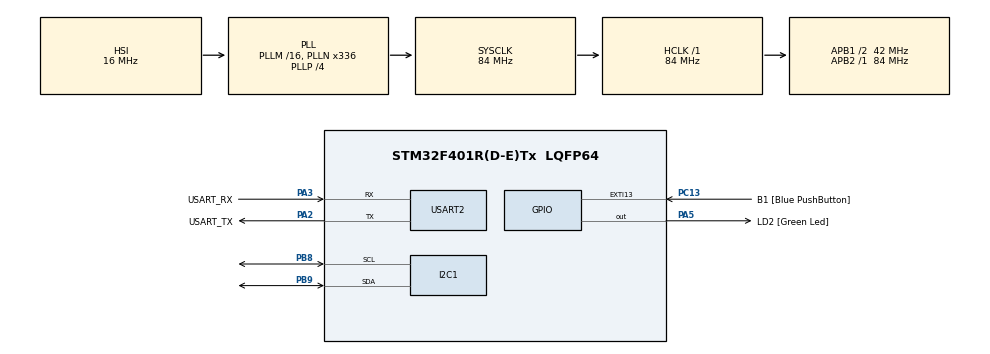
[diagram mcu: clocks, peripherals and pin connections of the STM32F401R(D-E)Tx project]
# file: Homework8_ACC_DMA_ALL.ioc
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Dma.I2C1_RX.0.Direction=DMA_PERIPH_TO_MEMORY
Dma.I2C1_RX.0.FIFOMode=DMA_FIFOMODE_DISABLE
Dma.I2C1_RX.0.Instance=DMA1_Stream0
Dma.I2C1_RX.0.MemDataAlignment=DMA_MDATAALIGN_BYTE
Dma.I2C1_RX.0.MemInc=DMA_MINC_ENABLE
Dma.I2C1_RX.0.Mode=DMA_NORMAL
Dma.I2C1_RX.0.PeriphDataAlignment=DMA_PDATAALIGN_BYTE
Dma.I2C1_RX.0.PeriphInc=DMA_PINC_DISABLE
Dma.I2C1_RX.0.Priority=DMA_PRIORITY_LOW
Dma.Request0=I2C1_RX
Dma.Request1=USART2_TX
Dma.USART2_TX.1.Direction=DMA_MEMORY_TO_PERIPH
Dma.USART2_TX.1.FIFOMode=DMA_FIFOMODE_DISABLE
Dma.USART2_TX.1.Instance=DMA1_Stream6
Dma.USART2_TX.1.MemDataAlignment=DMA_MDATAALIGN_BYTE
Dma.USART2_TX.1.MemInc=DMA_MINC_ENABLE
Dma.USART2_TX.1.Mode=DMA_NORMAL
Dma.USART2_TX.1.PeriphDataAlignment=DMA_PDATAALIGN_BYTE
Dma.USART2_TX.1.PeriphInc=DMA_PINC_DISABLE
Dma.USART2_TX.1.Priority=DMA_PRIORITY_LOW
Mcu.Family=STM32F4
Mcu.Name=STM32F401R(D-E)Tx
Mcu.Package=LQFP64
NVIC.DMA1_Stream0_IRQn=true\:0\:0\:false\:false\:true\:false\:true\:true
NVIC.DMA1_Stream6_IRQn=true\:0\:0\:false\:false\:true\:false\:true\:true
NVIC.I2C1_ER_IRQn=true\:0\:0\:false\:false\:true\:true\:true\:true
NVIC.I2C1_EV_IRQn=true\:0\:0\:false\:false\:true\:true\:true\:true
NVIC.PriorityGroup=NVIC_PRIORITYGROUP_0
NVIC.TIM2_IRQn=true\:0\:0\:true\:false\:true\:true\:true\:true
NVIC.USART2_IRQn=true\:0\:0\:false\:false\:true\:true\:true\:true
PA13.GPIO_Label=TMS
PA13.Mode=Serial_Wire
PA13.Signal=SYS_JTMS-SWDIO
PA14.GPIO_Label=TCK
PA14.Mode=Serial_Wire
PA14.Signal=SYS_JTCK-SWCLK
PA2.GPIO_Label=USART_TX
PA2.GPIO_Mode=GPIO_MODE_AF_PP
PA2.GPIO_PuPd=GPIO_NOPULL
PA2.GPIO_Speed=GPIO_SPEED_FREQ_LOW
PA2.Mode=Asynchronous
PA2.Signal=USART2_TX
PA3.GPIO_Label=USART_RX
PA3.GPIO_Mode=GPIO_MODE_AF_PP
PA3.GPIO_PuPd=GPIO_NOPULL
PA3.GPIO_Speed=GPIO_SPEED_FREQ_LOW
PA3.Mode=Asynchronous
PA3.Signal=USART2_RX
PA5.GPIO_Label=LD2 [Green Led]
PA5.GPIO_Mode=GPIO_MODE_OUTPUT_PP
PA5.GPIO_PuPd=GPIO_NOPULL
PA5.GPIO_Speed=GPIO_SPEED_FREQ_LOW
PA5.Signal=GPIO_Output
PB3.GPIO_Label=SWO
PB3.Signal=SYS_JTDO-SWO
PB8.Mode=I2C
PB8.Signal=I2C1_SCL
PB9.Mode=I2C
PB9.Signal=I2C1_SDA
PC13-ANTI_TAMP.GPIO_Label=B1 [Blue PushButton]
PC13-ANTI_TAMP.GPIO_ModeDefaultEXTI=GPIO_MODE_IT_FALLING
PC13-ANTI_TAMP.GPIO_PuPd=GPIO_NOPULL
PC13-ANTI_TAMP.Signal=GPXTI13
PC14-OSC32_IN.Mode=LSE-External-Oscillator
PC14-OSC32_IN.Signal=RCC_OSC32_IN
PC15-OSC32_OUT.Mode=LSE-External-Oscillator
PC15-OSC32_OUT.Signal=RCC_OSC32_OUT
PH0\ -\ OSC_IN.Mode=HSE-External-Clock-Source
PH0\ -\ OSC_IN.Signal=RCC_OSC_IN
PH1\ -\ OSC_OUT.Mode=HSE-External-Clock-Source
PH1\ -\ OSC_OUT.Signal=RCC_OSC_OUT
ProjectManager.HeapSize=0x200
ProjectManager.StackSize=0x400
ProjectManager.TargetToolchain=STM32CubeIDE
RCC.48MHZClocksFreq_Value=48000000
RCC.AHBFreq_Value=84000000
RCC.APB1CLKDivider=RCC_HCLK_DIV2
RCC.APB1Freq_Value=42000000
RCC.APB1TimFreq_Value=84000000
RCC.APB2Freq_Value=84000000
RCC.APB2TimFreq_Value=84000000
RCC.CortexFreq_Value=84000000
RCC.HCLKFreq_Value=84000000
RCC.HSE_VALUE=8000000
RCC.HSI_VALUE=16000000
RCC.PLLN=336
RCC.PLLP=RCC_PLLP_DIV4
RCC.PLLQ=7
RCC.SYSCLKFreq_VALUE=84000000
RCC.SYSCLKSource=RCC_SYSCLKSOURCE_PLLCLK
RCC.VCOOutputFreq_Value=336000000
TIM2.Period=10000-1
TIM2.Prescaler=8400-1
USART2.VirtualMode=VM_ASYNC
VP_TIM2_VS_ClockSourceINT.Mode=Internal
board=NUCLEO-F401RE

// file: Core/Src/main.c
/* USER CODE BEGIN Header */
/**
  ******************************************************************************
  * @file           : main.c
  * @brief          : Main program body
  ******************************************************************************
  * @attention
  *
  * Copyright (c) 2024 STMicroelectronics.
  * All rights reserved.
  *
  * This software is licensed under terms that can be found in the LICENSE file
  * in the root directory of this software component.
  * If no LICENSE file comes with this software, it is provided AS-IS.
  *
  ******************************************************************************
  */
/* USER CODE END Header */
#include "main.h"

/* USER CODE BEGIN Includes */
#include "string.h"
/* USER CODE END Includes */

/* USER CODE BEGIN PD */
#define DATA_IN_DIM 5
#define STR_LEN 32
#define NUM_COOR 3
/* USER CODE END PD */

I2C_HandleTypeDef hi2c1;
DMA_HandleTypeDef hdma_i2c1_rx;

TIM_HandleTypeDef htim2;

UART_HandleTypeDef huart2;
DMA_HandleTypeDef hdma_usart2_tx;

/* USER CODE BEGIN PV */
uint8_t slave_add1  = 0b01010000; //The correct address of my board (tested in an other project)

// uint8_t slave_add12 = 0b0011000; is the other possible one for other boards

// register address of the accelerometer. MSB = 1 for the autoincrement (PAG 22 Datasheet)
uint8_t reg_add_x = 0b10101001;

/*ctrl_reg1[0] = address of the internal CTRL_REG1, ctrl_reg1[1]: Configuration meant for my application:
 * 0001 =  1 Hz refresh rate of the Accelerometer, 0111 = reading X,Y and Z coordinates*/
uint8_t ctrl_reg1[2] = {0x20 , 0b00010111};

//Using the autoincrement I must copy the structure of the registers: {X, -- , Y, --, Z}
int8_t axel_out_data[5] = {0,0,0,0,0};

float coor[NUM_COOR] = {0, 0, 0};

/*For analog string*/
char string1[STR_LEN] = "\n";
int length1 = 0;

/*for digital string*/
char string2[STR_LEN] = "\n";
int length2 = 0;
/* USER CODE END PV */

void SystemClock_Config(void);
static void MX_GPIO_Init(void);
static void MX_DMA_Init(void);
static void MX_USART2_UART_Init(void);
static void MX_I2C1_Init(void);
static void MX_TIM2_Init(void);

/* USER CODE BEGIN 0 */

/*Every second (TIM2)*/
void HAL_TIM_PeriodElapsedCallback (TIM_HandleTypeDef *htim){
	if(htim==&htim2){

		/*receive the 3 axis axel digital data in multiple
		 * read mode (slave_add + 1 to read (READ=1 WRITE=0))*/
		HAL_I2C_Master_Receive_DMA(&hi2c1, slave_add1+1,  axel_out_data, sizeof(axel_out_data));

		/*Converting in analag values (g)*/
		//64 is the measured value for 1 g applied on the board (measured using string2)
		coor[0]= axel_out_data[0]/64.0;
		coor[1]= axel_out_data[2]/64.0;
		coor[2]= axel_out_data[4]/64.0;

		length1 = snprintf(string1, STR_LEN, "X:%.3f, Y:%.3f, Z:%.3f\n", coor[0],coor[1],coor[2]);

		//length2 = snprintf(string2, STR_LEN, "X dig:%d, Y dig:%d, Z dig:%d\n", axel_out_data[0],axel_out_data[2],axel_out_data[4]);

		HAL_UART_Transmit_DMA(&huart2, string1, length1);
		//HAL_UART_Transmit_DMA(&huart2, string2, length2);

	}
}
/* USER CODE END 0 */

int main(void)
{

  /* MCU Configuration--------------------------------------------------------*/

  /* Reset of all peripherals, Initializes the Flash interface and the Systick. */
  HAL_Init();

  /* Configure the system clock */
  SystemClock_Config();

  /* Initialize all configured peripherals */
  MX_GPIO_Init();
  MX_DMA_Init();
  MX_USART2_UART_Init();
  MX_I2C1_Init();
  MX_TIM2_Init();
  /* USER CODE BEGIN 2 */

  //set CTRL_REG1 (+0 to write)
   HAL_I2C_Master_Transmit(&hi2c1, slave_add1 + 0, ctrl_reg1, sizeof(ctrl_reg1), 10);

   /*set sub-address to read axel data: it starts from the x-axis register, which have been set
    * with MSB=1 in order to enable the autoincrement*/
   HAL_I2C_Master_Transmit(&hi2c1, slave_add1, &reg_add_x, sizeof(reg_add_x), 10);

  __HAL_TIM_SET_COUNTER(&htim2, 0);
  __HAL_TIM_CLEAR_IT(&htim2, TIM_IT_UPDATE);	// clear interrupt request BEFORE enabling tim interrupt
  HAL_TIM_Base_Start_IT(&htim2);

  /* USER CODE END 2 */

  /* Infinite loop */
  while (1)
  {

  }
}

void SystemClock_Config(void)
{
  RCC_OscInitTypeDef RCC_OscInitStruct = {0};
  RCC_ClkInitTypeDef RCC_ClkInitStruct = {0};

  /** Configure the main internal regulator output voltage
  */
  __HAL_RCC_PWR_CLK_ENABLE();
  __HAL_PWR_VOLTAGESCALING_CONFIG(PWR_REGULATOR_VOLTAGE_SCALE2);

  /** Initializes the RCC Oscillators according to the specified parameters
  * in the RCC_OscInitTypeDef structure.
  */
  RCC_OscInitStruct.OscillatorType = RCC_OSCILLATORTYPE_HSI;
  RCC_OscInitStruct.HSIState = RCC_HSI_ON;
  RCC_OscInitStruct.HSICalibrationValue = RCC_HSICALIBRATION_DEFAULT;
  RCC_OscInitStruct.PLL.PLLState = RCC_PLL_ON;
  RCC_OscInitStruct.PLL.PLLSource = RCC_PLLSOURCE_HSI;
  RCC_OscInitStruct.PLL.PLLM = 16;
  RCC_OscInitStruct.PLL.PLLN = 336;
  RCC_OscInitStruct.PLL.PLLP = RCC_PLLP_DIV4;
  RCC_OscInitStruct.PLL.PLLQ = 7;
  if (HAL_RCC_OscConfig(&RCC_OscInitStruct) != HAL_OK)
  {
    Error_Handler();
  }

  /** Initializes the CPU, AHB and APB buses clocks
  */
  RCC_ClkInitStruct.ClockType = RCC_CLOCKTYPE_HCLK|RCC_CLOCKTYPE_SYSCLK
                              |RCC_CLOCKTYPE_PCLK1|RCC_CLOCKTYPE_PCLK2;
  RCC_ClkInitStruct.SYSCLKSource = RCC_SYSCLKSOURCE_PLLCLK;
  RCC_ClkInitStruct.AHBCLKDivider = RCC_SYSCLK_DIV1;
  RCC_ClkInitStruct.APB1CLKDivider = RCC_HCLK_DIV2;
  RCC_ClkInitStruct.APB2CLKDivider = RCC_HCLK_DIV1;

  if (HAL_RCC_ClockConfig(&RCC_ClkInitStruct, FLASH_LATENCY_2) != HAL_OK)
  {
    Error_Handler();
  }
}

static void MX_I2C1_Init(void)
{

  hi2c1.Instance = I2C1;
  hi2c1.Init.ClockSpeed = 100000;
  hi2c1.Init.DutyCycle = I2C_DUTYCYCLE_2;
  hi2c1.Init.OwnAddress1 = 0;
  hi2c1.Init.AddressingMode = I2C_ADDRESSINGMODE_7BIT;
  hi2c1.Init.DualAddressMode = I2C_DUALADDRESS_DISABLE;
  hi2c1.Init.OwnAddress2 = 0;
  hi2c1.Init.GeneralCallMode = I2C_GENERALCALL_DISABLE;
  hi2c1.Init.NoStretchMode = I2C_NOSTRETCH_DISABLE;
  if (HAL_I2C_Init(&hi2c1) != HAL_OK)
  {
    Error_Handler();
  }

}

static void MX_TIM2_Init(void)
{

  TIM_ClockConfigTypeDef sClockSourceConfig = {0};
  TIM_MasterConfigTypeDef sMasterConfig = {0};

  htim2.Instance = TIM2;
  htim2.Init.Prescaler = 8400-1;
  htim2.Init.CounterMode = TIM_COUNTERMODE_UP;
  htim2.Init.Period = 10000-1;
  htim2.Init.ClockDivision = TIM_CLOCKDIVISION_DIV1;
  htim2.Init.AutoReloadPreload = TIM_AUTORELOAD_PRELOAD_DISABLE;
  if (HAL_TIM_Base_Init(&htim2) != HAL_OK)
  {
    Error_Handler();
  }
  sClockSourceConfig.ClockSource = TIM_CLOCKSOURCE_INTERNAL;
  if (HAL_TIM_ConfigClockSource(&htim2, &sClockSourceConfig) != HAL_OK)
  {
    Error_Handler();
  }
  sMasterConfig.MasterOutputTrigger = TIM_TRGO_RESET;
  sMasterConfig.MasterSlaveMode = TIM_MASTERSLAVEMODE_DISABLE;
  if (HAL_TIMEx_MasterConfigSynchronization(&htim2, &sMasterConfig) != HAL_OK)
  {
    Error_Handler();
  }

}

static void MX_USART2_UART_Init(void)
{

  huart2.Instance = USART2;
  huart2.Init.BaudRate = 115200;
  huart2.Init.WordLength = UART_WORDLENGTH_8B;
  huart2.Init.StopBits = UART_STOPBITS_1;
  huart2.Init.Parity = UART_PARITY_NONE;
  huart2.Init.Mode = UART_MODE_TX_RX;
  huart2.Init.HwFlowCtl = UART_HWCONTROL_NONE;
  huart2.Init.OverSampling = UART_OVERSAMPLING_16;
  if (HAL_UART_Init(&huart2) != HAL_OK)
  {
    Error_Handler();
  }

}

static void MX_DMA_Init(void)
{

  /* DMA controller clock enable */
  __HAL_RCC_DMA1_CLK_ENABLE();

  /* DMA interrupt init */
  /* DMA1_Stream0_IRQn interrupt configuration */
  HAL_NVIC_SetPriority(DMA1_Stream0_IRQn, 0, 0);
  HAL_NVIC_EnableIRQ(DMA1_Stream0_IRQn);
  /* DMA1_Stream6_IRQn interrupt configuration */
  HAL_NVIC_SetPriority(DMA1_Stream6_IRQn, 0, 0);
  HAL_NVIC_EnableIRQ(DMA1_Stream6_IRQn);

}

static void MX_GPIO_Init(void)
{
  GPIO_InitTypeDef GPIO_InitStruct = {0};

  /* GPIO Ports Clock Enable */
  __HAL_RCC_GPIOC_CLK_ENABLE();
  __HAL_RCC_GPIOH_CLK_ENABLE();
  __HAL_RCC_GPIOA_CLK_ENABLE();
  __HAL_RCC_GPIOB_CLK_ENABLE();

  /*Configure GPIO pin Output Level */
  HAL_GPIO_WritePin(LD2_GPIO_Port, LD2_Pin, GPIO_PIN_RESET);

  /*Configure GPIO pin : B1_Pin */
  GPIO_InitStruct.Pin = B1_Pin;
  GPIO_InitStruct.Mode = GPIO_MODE_IT_FALLING;
  GPIO_InitStruct.Pull = GPIO_NOPULL;
  HAL_GPIO_Init(B1_GPIO_Port, &GPIO_InitStruct);

  /*Configure GPIO pin : LD2_Pin */
  GPIO_InitStruct.Pin = LD2_Pin;
  GPIO_InitStruct.Mode = GPIO_MODE_OUTPUT_PP;
  GPIO_InitStruct.Pull = GPIO_NOPULL;
  GPIO_InitStruct.Speed = GPIO_SPEED_FREQ_LOW;
  HAL_GPIO_Init(LD2_GPIO_Port, &GPIO_InitStruct);

}

void Error_Handler(void)
{
  __disable_irq();
  while (1)
  {
  }
}
